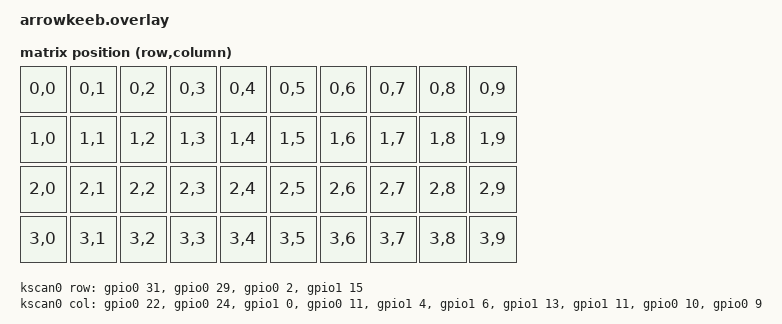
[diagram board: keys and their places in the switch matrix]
/*
 * Copyright (c) 2026
 * SPDX-License-Identifier: MIT
 */

#include <dt-bindings/zmk/matrix_transform.h>

/ {
    chosen {
        zmk,kscan = &kscan0;
        zmk,matrix_transform = &default_transform;
        zephyr,display = &ssd1306;
    };

    default_transform: keymap_transform_0 {
        compatible = "zmk,matrix-transform";
        columns = <10>;
        rows = <4>;

        map = <
            RC(0,0) RC(0,1) RC(0,2) RC(0,3) RC(0,4) RC(0,5) RC(0,6) RC(0,7) RC(0,8) RC(0,9)
            RC(1,0) RC(1,1) RC(1,2) RC(1,3) RC(1,4) RC(1,5) RC(1,6) RC(1,7) RC(1,8) RC(1,9)
            RC(2,0) RC(2,1) RC(2,2) RC(2,3) RC(2,4) RC(2,5) RC(2,6) RC(2,7) RC(2,8) RC(2,9)
            RC(3,0) RC(3,1) RC(3,2) RC(3,3) RC(3,4) RC(3,5) RC(3,6) RC(3,7) RC(3,8) RC(3,9)
        >;
    };

    kscan0: kscan {
        compatible = "zmk,kscan-gpio-matrix";
        label = "KSCAN";
        diode-direction = "col2row";

        col-gpios
            = <&gpio0 22 GPIO_ACTIVE_HIGH>   /* Col 0 - P0.22 */
            , <&gpio0 24 GPIO_ACTIVE_HIGH>   /* Col 1 - P0.24 */
            , <&gpio1 0  GPIO_ACTIVE_HIGH>   /* Col 2 - P1.00 */
            , <&gpio0 11 GPIO_ACTIVE_HIGH>   /* Col 3 - P0.11 */
            , <&gpio1 4  GPIO_ACTIVE_HIGH>   /* Col 4 - P1.04 */
            , <&gpio1 6  GPIO_ACTIVE_HIGH>   /* Col 5 - P1.06 */
            , <&gpio1 13 GPIO_ACTIVE_HIGH>   /* Col 6 - P1.13 */
            , <&gpio1 11 GPIO_ACTIVE_HIGH>   /* Col 7 - P1.11 */
            , <&gpio0 10 GPIO_ACTIVE_HIGH>   /* Col 8 - P0.10 */
            , <&gpio0 9  GPIO_ACTIVE_HIGH>   /* Col 9 - P0.09 */
            ;

        row-gpios
            = <&gpio0 31 (GPIO_ACTIVE_HIGH | GPIO_PULL_DOWN)>  /* Row 0 - P0.31 */
            , <&gpio0 29 (GPIO_ACTIVE_HIGH | GPIO_PULL_DOWN)>  /* Row 1 - P0.29 */
            , <&gpio0 2  (GPIO_ACTIVE_HIGH | GPIO_PULL_DOWN)>  /* Row 2 - P0.02 */
            , <&gpio1 15 (GPIO_ACTIVE_HIGH | GPIO_PULL_DOWN)>  /* Row 3 - P1.15 */
            ;
    };
};

/*
 * OLED is wired to the nice!nano default I2C pins
 * (SDA=P0.17 / Pro-Micro D2, SCL=P0.20 / Pro-Micro D3),
 * so no &pinctrl override is needed.
 */
&i2c0 {
    status = "okay";

    ssd1306: ssd1306@3c {
        compatible = "solomon,ssd1306fb";
        reg = <0x3c>;
        width = <128>;
        height = <64>;
        segment-offset = <0>;
        page-offset = <0>;
        display-offset = <0>;
        multiplex-ratio = <63>;
        prechargep = <0xf1>;
        segment-remap;
        com-invdir;
    };
};
